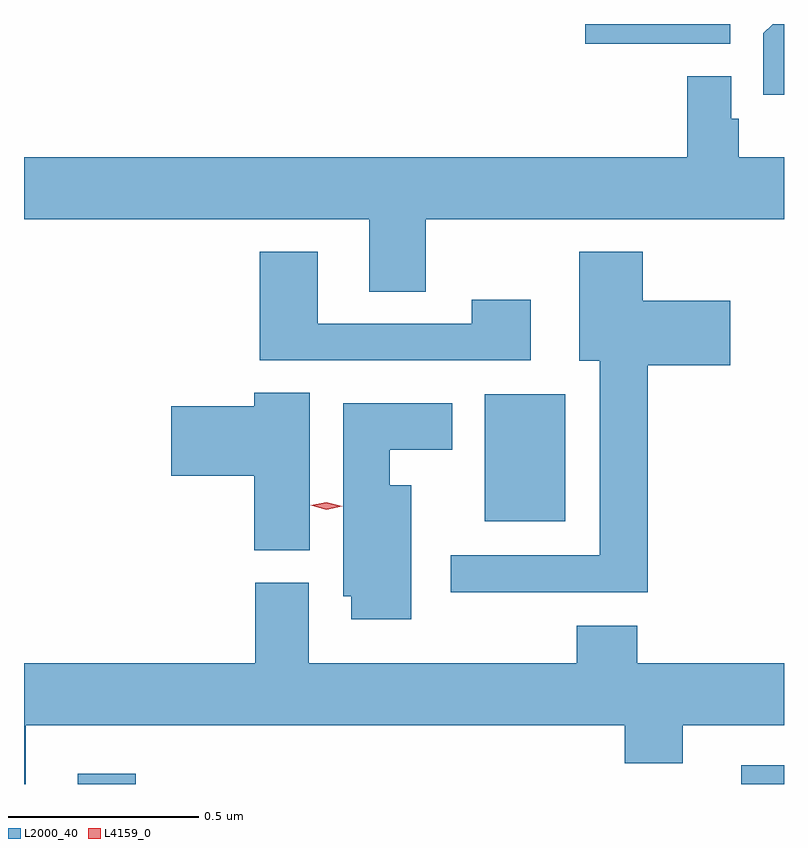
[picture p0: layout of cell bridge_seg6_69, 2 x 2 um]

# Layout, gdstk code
import gdstk
lib = gdstk.Library(unit=1e-6, precision=1e-09)
def R(c, l, rs):  # rectangles x0, y0, x1, y1
    for r in rs: c.add(gdstk.rectangle(r[:2], r[2:], *l))
def P(c, l, *ps):  # polygons
    for p in ps: c.add(gdstk.Polygon(p, *l))
L2000_40 = (2000, 40)
L4159_0 = (4159, 0)

bridge_seg6_69 = lib.new_cell('bridge_seg6_69')
R(bridge_seg6_69, L2000_40, [(837.545,951.178,837.698,951.205), (839.291,951.178,839.404,951.228), (838.616,951.869,838.828,952.204), (838.881,953.126,839.263,953.178)])
P(bridge_seg6_69, L2000_40, [(839.404,953.178),(839.374,953.178),(839.35,953.154),(839.35,952.992),(839.404,952.992)],
  [(838.461,952.664),(839.404,952.664),(839.404,952.828),(839.285,952.828),(839.285,952.929),(839.265,952.929),(839.265,953.041),(839.149,953.041),(839.149,952.828),(837.404,952.828),(837.404,952.664),(838.313,952.664),(838.313,952.474),(838.461,952.474)],
  [(839.045,952.28),(839.263,952.28),(839.263,952.45),(839.032,952.45),(839.032,952.579),(838.865,952.579),(838.865,952.292),(838.919,952.292),(838.919,951.78),(838.527,951.78),(838.527,951.683),(839.045,951.683)],
  [(838.738,952.453),(838.582,952.453),(838.582,952.389),(838.177,952.389),(838.177,952.579),(838.025,952.579),(838.025,952.293),(838.738,952.293)],
  [(838.156,952.208),(838.01,952.208),(838.01,952.172),(837.792,952.172),(837.792,951.989),(838.01,951.989),(838.01,951.793),(838.156,951.793)],
  [(838.423,951.964),(838.366,951.964),(838.366,952.058),(838.531,952.058),(838.531,952.18),(838.244,952.18),(838.244,951.672),(838.265,951.672),(838.265,951.612),(838.423,951.612)],
  [(837.409,951.332),(838.985,951.332),(838.985,951.233),(839.137,951.233),(839.137,951.332),(839.404,951.332),(839.404,951.496),(839.018,951.496),(839.018,951.595),(838.858,951.595),(838.858,951.496),(838.153,951.496),(838.153,951.708),(838.013,951.708),(838.013,951.496),(837.404,951.496),(837.404,951.178),(837.409,951.178)])
P(bridge_seg6_69, L4159_0, [(838.2,951.9),(838.159,951.912),(838.159,951.912),(838.159,951.912),(838.2,951.92),(838.241,951.909),(838.241,951.909),(838.241,951.909)])

lib.write_gds('bridge_seg6_69.gds')
